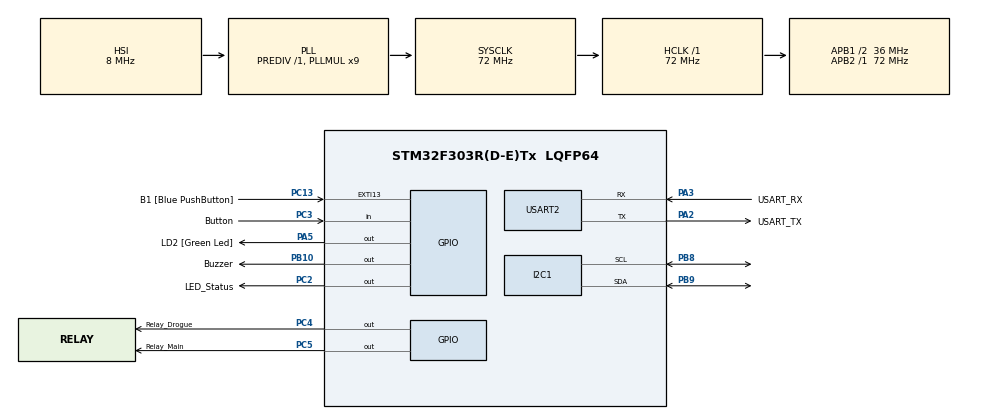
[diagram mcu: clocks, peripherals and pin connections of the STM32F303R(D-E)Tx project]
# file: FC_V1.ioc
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FREERTOS.Mutexes01=altitudeMutex,Static,altitudeMutexControlBlock
FREERTOS.Tasks01=ejectionTask,32,128,startEjection,Default,NULL,Dynamic,NULL,NULL;telemetryTask,24,128,startTelemetry,Default,NULL,Dynamic,NULL,NULL
Mcu.Family=STM32F3
Mcu.Name=STM32F303R(D-E)Tx
Mcu.Package=LQFP64
NVIC.PriorityGroup=NVIC_PRIORITYGROUP_4
NVIC.TIM6_DAC_IRQn=true\:0\:0\:false\:false\:true\:false\:false\:true
NVIC.TimeBase=TIM6_DAC_IRQn
NVIC.TimeBaseIP=TIM6
PA13.GPIO_Label=TMS
PA13.Mode=Serial_Wire
PA13.Signal=SYS_JTMS-SWDIO
PA14.GPIO_Label=TCK
PA14.Mode=Serial_Wire
PA14.Signal=SYS_JTCK-SWCLK
PA2.GPIO_Label=USART_TX
PA2.GPIO_Mode=GPIO_MODE_AF_PP
PA2.GPIO_PuPd=GPIO_NOPULL
PA2.GPIO_Speed=GPIO_SPEED_FREQ_LOW
PA2.Mode=Asynchronous
PA2.Signal=USART2_TX
PA3.GPIO_Label=USART_RX
PA3.GPIO_Mode=GPIO_MODE_AF_PP
PA3.GPIO_PuPd=GPIO_NOPULL
PA3.GPIO_Speed=GPIO_SPEED_FREQ_LOW
PA3.Mode=Asynchronous
PA3.Signal=USART2_RX
PA5.GPIO_Label=LD2 [Green Led]
PA5.GPIO_Mode=GPIO_MODE_OUTPUT_PP
PA5.GPIO_PuPd=GPIO_NOPULL
PA5.GPIO_Speed=GPIO_SPEED_FREQ_LOW
PA5.Signal=GPIO_Output
PB10.GPIO_Label=Buzzer
PB10.Signal=GPIO_Output
PB3.GPIO_Label=SWO
PB3.Signal=SYS_JTDO-TRACESWO
PB8.Mode=I2C
PB8.Signal=I2C1_SCL
PB9.Mode=I2C
PB9.Signal=I2C1_SDA
PC13.GPIO_Label=B1 [Blue PushButton]
PC13.GPIO_ModeDefaultEXTI=GPIO_MODE_IT_FALLING
PC13.Signal=GPXTI13
PC14-OSC32_IN.Mode=LSE-External-Oscillator
PC14-OSC32_IN.Signal=RCC_OSC32_IN
PC15-OSC32_OUT.Mode=LSE-External-Oscillator
PC15-OSC32_OUT.Signal=RCC_OSC32_OUT
PC2.GPIO_Label=LED_Status
PC2.Signal=GPIO_Output
PC3.GPIO_Label=Button
PC3.Signal=GPIO_Input
PC4.GPIO_Label=Relay_Drogue
PC4.Signal=GPIO_Output
PC5.GPIO_Label=Relay_Main
PC5.Signal=GPIO_Output
PF0-OSC_IN.Mode=HSE-External-Clock-Source
PF0-OSC_IN.Signal=RCC_OSC_IN
PF1-OSC_OUT.Signal=RCC_OSC_OUT
ProjectManager.HeapSize=0x200
ProjectManager.StackSize=0x400
ProjectManager.TargetToolchain=STM32CubeIDE
RCC.AHBFreq_Value=72000000
RCC.APB1CLKDivider=RCC_HCLK_DIV2
RCC.APB1Freq_Value=36000000
RCC.APB1TimFreq_Value=72000000
RCC.APB2Freq_Value=72000000
RCC.APB2TimFreq_Value=72000000
RCC.CortexFreq_Value=72000000
RCC.HCLKFreq_Value=72000000
RCC.HSE_VALUE=8000000
RCC.HSI_VALUE=8000000
RCC.PLLM=8
RCC.PLLMUL=RCC_PLL_MUL9
RCC.PLLN=336
RCC.PLLP=RCC_PLLP_DIV4
RCC.PLLQ=7
RCC.RCC_PLLsource_Clock_Source_FROM_HSE=RCC_HSE_PREDIV_DIV2
RCC.SYSCLKFreq_VALUE=72000000
RCC.SYSCLKSourceVirtual=RCC_SYSCLKSOURCE_PLLCLK
RCC.USBFreq_Value=72000000
USART2.VirtualMode-Asynchronous=VM_ASYNC
VP_FREERTOS_VS_CMSIS_V2.Mode=CMSIS_V2
VP_RTC_VS_RTC_Activate.Mode=RTC_Enabled
VP_SYS_VS_tim6.Mode=TIM6
board=NUCLEO-F303RE

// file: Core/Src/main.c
/* USER CODE BEGIN Header */
/**
 ******************************************************************************
 * @file           : main.c
 * @brief          : Main program body
 ******************************************************************************
 * @attention
 *
 * <h2><center>&copy; Copyright (c) 2021 STMicroelectronics.
 * All rights reserved.</center></h2>
 *
 * This software component is licensed by ST under Ultimate Liberty license
 * SLA0044, the "License"; You may not use this file except in compliance with
 * the License. You may obtain a copy of the License at:
 *                             www.st.com/SLA0044
 *
 ******************************************************************************
 */
/* USER CODE END Header */
#include "main.h"
#include "cmsis_os.h"

/* USER CODE BEGIN Includes */
#include "FreeRTOS.h"
#include "queue.h"
#include <stdio.h>
#include <string.h>
#include "lsm6dsr_reg.h"
#include "lps22hh_reg.h"
#include "ejection.h"
/* USER CODE END Includes */

typedef StaticSemaphore_t osStaticMutexDef_t;

/* USER CODE BEGIN PD */

// ---------- COMMENT THESE OUT AS NEEDED ---------- //
#define		DEBUG_MODE
//#define		TRANSMIT_RADIO
// ------------------------------------------------- //

/* USER CODE END PD */

I2C_HandleTypeDef hi2c1;

RTC_HandleTypeDef hrtc;

UART_HandleTypeDef huart2;

/* Definitions for ejectionTask */
osThreadId_t ejectionTaskHandle;
const osThreadAttr_t ejectionTask_attributes = {
  .name = "ejectionTask",
  .priority = (osPriority_t) osPriorityAboveNormal,
  .stack_size = 128 * 4
};
/* Definitions for telemetryTask */
osThreadId_t telemetryTaskHandle;
const osThreadAttr_t telemetryTask_attributes = {
  .name = "telemetryTask",
  .priority = (osPriority_t) osPriorityNormal,
  .stack_size = 128 * 4
};
/* Definitions for altitudeMutex */
osMutexId_t altitudeMutexHandle;
osStaticMutexDef_t altitudeMutexControlBlock;
const osMutexAttr_t altitudeMutex_attributes = {
  .name = "altitudeMutex",
  .cb_mem = &altitudeMutexControlBlock,
  .cb_size = sizeof(altitudeMutexControlBlock),
};
/* USER CODE BEGIN PV */
static uint8_t tx_buffer[TX_BUF_DIM];

// Ejection Variables
float alt_meas;
float alt_ground = 0;
//float a = 1;					// Hz (Cutoff frequency of low-pass filter)
//float alt_filtered;
float t_previous_loop, t_previous_buzz;
float average_gradient;

uint8_t apogee_reached = 0;
uint8_t launched = 0;
uint8_t main_deployed = 0;

long time11;
long time12;
long time21;
long time22;

// Telemetry Variables
//float real_altitude;
//uint8_t relay_check_drogue1;
//uint8_t relay_check_drogue2;
//uint8_t relay_check_main1;
//uint8_t relay_check_main2;
stmdev_ctx_t dev_ctx_lsm;
stmdev_ctx_t dev_ctx_lps;

// Variables to store converted sensor data
float acceleration[] = {0, 0, 0};
float angular_rate[]= {0, 0, 0};
float pressure = 0;
float temperature = 0;

// Global altitude variable (protected by mutex)
uint16_t altitude = 0;

// RTC date and time structures
RTC_DateTypeDef sdatestructureget;
RTC_TimeTypeDef stimestructureget;

/* USER CODE END PV */

void SystemClock_Config(void);
static void MX_GPIO_Init(void);
static void MX_USART2_UART_Init(void);
static void MX_I2C1_Init(void);
static void MX_RTC_Init(void);
void startEjection(void *argument);
void startTelemetry(void *argument);

/* USER CODE BEGIN 0 */

// LSM6DSR functions
extern stmdev_ctx_t lsm6dsr_init(void);
extern void get_acceleration(stmdev_ctx_t dev_ctx, float *acceleration_mg);
extern void get_angvelocity(stmdev_ctx_t dev_ctx, float *angular_rate_mdps);

// LPS22HH functions
extern stmdev_ctx_t lps22hh_init(void);
extern void get_pressure(stmdev_ctx_t dev_ctx,  float *pressure);
extern void get_temperature(stmdev_ctx_t dev_ctx,  float *temperature);
/* USER CODE END 0 */

int main(void)
{

  /* MCU Configuration--------------------------------------------------------*/

  /* Reset of all peripherals, Initializes the Flash interface and the Systick. */
  HAL_Init();

  /* Configure the system clock */
  SystemClock_Config();

  /* Initialize all configured peripherals */
  MX_GPIO_Init();
  MX_USART2_UART_Init();
  MX_I2C1_Init();
  MX_RTC_Init();
  /* USER CODE BEGIN 2 */
	// Reset GPIOs
	HAL_GPIO_WritePin(LED_Status_GPIO_Port, LED_Status_Pin, GPIO_PIN_RESET);
	HAL_GPIO_WritePin(Relay_Drogue_GPIO_Port, Relay_Drogue_Pin, GPIO_PIN_RESET);
	HAL_GPIO_WritePin(Relay_Main_GPIO_Port, Relay_Main_Pin, GPIO_PIN_RESET);

	// Initialize sensors
	// TODO: Add check mechanism (eg. if dev_ctx_lps return an error, sound the buzzer and light LED. Else, do smth)
	// dev_ctx_lsm = lsm6dsr_init();
	dev_ctx_lps = lps22hh_init();

  /* USER CODE END 2 */

  /* Init scheduler */
  osKernelInitialize();
  /* Create the mutex(es) */
  /* creation of altitudeMutex */
  altitudeMutexHandle = osMutexNew(&altitudeMutex_attributes);

  /* Create the thread(s) */
  /* creation of ejectionTask */
  ejectionTaskHandle = osThreadNew(startEjection, NULL, &ejectionTask_attributes);

  /* creation of telemetryTask */
  telemetryTaskHandle = osThreadNew(startTelemetry, NULL, &telemetryTask_attributes);

  /* Start scheduler */
  osKernelStart();

  /* We should never get here as control is now taken by the scheduler */
  /* Infinite loop */
	while (1) {

	}
}

void SystemClock_Config(void)
{
  RCC_OscInitTypeDef RCC_OscInitStruct = {0};
  RCC_ClkInitTypeDef RCC_ClkInitStruct = {0};
  RCC_PeriphCLKInitTypeDef PeriphClkInit = {0};

  /** Initializes the RCC Oscillators according to the specified parameters
  * in the RCC_OscInitTypeDef structure.
  */
  RCC_OscInitStruct.OscillatorType = RCC_OSCILLATORTYPE_HSI|RCC_OSCILLATORTYPE_LSI;
  RCC_OscInitStruct.HSIState = RCC_HSI_ON;
  RCC_OscInitStruct.HSICalibrationValue = RCC_HSICALIBRATION_DEFAULT;
  RCC_OscInitStruct.LSIState = RCC_LSI_ON;
  RCC_OscInitStruct.PLL.PLLState = RCC_PLL_ON;
  RCC_OscInitStruct.PLL.PLLSource = RCC_PLLSOURCE_HSI;
  RCC_OscInitStruct.PLL.PLLMUL = RCC_PLL_MUL9;
  RCC_OscInitStruct.PLL.PREDIV = RCC_PREDIV_DIV1;
  if (HAL_RCC_OscConfig(&RCC_OscInitStruct) != HAL_OK)
  {
    Error_Handler();
  }
  /** Initializes the CPU, AHB and APB buses clocks
  */
  RCC_ClkInitStruct.ClockType = RCC_CLOCKTYPE_HCLK|RCC_CLOCKTYPE_SYSCLK
                              |RCC_CLOCKTYPE_PCLK1|RCC_CLOCKTYPE_PCLK2;
  RCC_ClkInitStruct.SYSCLKSource = RCC_SYSCLKSOURCE_PLLCLK;
  RCC_ClkInitStruct.AHBCLKDivider = RCC_SYSCLK_DIV1;
  RCC_ClkInitStruct.APB1CLKDivider = RCC_HCLK_DIV2;
  RCC_ClkInitStruct.APB2CLKDivider = RCC_HCLK_DIV1;

  if (HAL_RCC_ClockConfig(&RCC_ClkInitStruct, FLASH_LATENCY_2) != HAL_OK)
  {
    Error_Handler();
  }
  PeriphClkInit.PeriphClockSelection = RCC_PERIPHCLK_USART2|RCC_PERIPHCLK_I2C1
                              |RCC_PERIPHCLK_RTC;
  PeriphClkInit.Usart2ClockSelection = RCC_USART2CLKSOURCE_PCLK1;
  PeriphClkInit.I2c1ClockSelection = RCC_I2C1CLKSOURCE_HSI;
  PeriphClkInit.RTCClockSelection = RCC_RTCCLKSOURCE_LSI;
  if (HAL_RCCEx_PeriphCLKConfig(&PeriphClkInit) != HAL_OK)
  {
    Error_Handler();
  }
}

static void MX_I2C1_Init(void)
{

  hi2c1.Instance = I2C1;
  hi2c1.Init.Timing = 0x2000090E;
  hi2c1.Init.OwnAddress1 = 0;
  hi2c1.Init.AddressingMode = I2C_ADDRESSINGMODE_7BIT;
  hi2c1.Init.DualAddressMode = I2C_DUALADDRESS_DISABLE;
  hi2c1.Init.OwnAddress2 = 0;
  hi2c1.Init.OwnAddress2Masks = I2C_OA2_NOMASK;
  hi2c1.Init.GeneralCallMode = I2C_GENERALCALL_DISABLE;
  hi2c1.Init.NoStretchMode = I2C_NOSTRETCH_DISABLE;
  if (HAL_I2C_Init(&hi2c1) != HAL_OK)
  {
    Error_Handler();
  }
  /** Configure Analogue filter
  */
  if (HAL_I2CEx_ConfigAnalogFilter(&hi2c1, I2C_ANALOGFILTER_ENABLE) != HAL_OK)
  {
    Error_Handler();
  }
  /** Configure Digital filter
  */
  if (HAL_I2CEx_ConfigDigitalFilter(&hi2c1, 0) != HAL_OK)
  {
    Error_Handler();
  }

}

static void MX_RTC_Init(void)
{

  /** Initialize RTC Only
  */
  hrtc.Instance = RTC;
  hrtc.Init.HourFormat = RTC_HOURFORMAT_24;
  hrtc.Init.AsynchPrediv = 127;
  hrtc.Init.SynchPrediv = 255;
  hrtc.Init.OutPut = RTC_OUTPUT_DISABLE;
  hrtc.Init.OutPutPolarity = RTC_OUTPUT_POLARITY_HIGH;
  hrtc.Init.OutPutType = RTC_OUTPUT_TYPE_OPENDRAIN;
  if (HAL_RTC_Init(&hrtc) != HAL_OK)
  {
    Error_Handler();
  }

}

static void MX_USART2_UART_Init(void)
{

  huart2.Instance = USART2;
  huart2.Init.BaudRate = 38400;
  huart2.Init.WordLength = UART_WORDLENGTH_8B;
  huart2.Init.StopBits = UART_STOPBITS_1;
  huart2.Init.Parity = UART_PARITY_NONE;
  huart2.Init.Mode = UART_MODE_TX_RX;
  huart2.Init.HwFlowCtl = UART_HWCONTROL_NONE;
  huart2.Init.OverSampling = UART_OVERSAMPLING_16;
  huart2.Init.OneBitSampling = UART_ONE_BIT_SAMPLE_DISABLE;
  huart2.AdvancedInit.AdvFeatureInit = UART_ADVFEATURE_NO_INIT;
  if (HAL_UART_Init(&huart2) != HAL_OK)
  {
    Error_Handler();
  }

}

static void MX_GPIO_Init(void)
{
  GPIO_InitTypeDef GPIO_InitStruct = {0};

  /* GPIO Ports Clock Enable */
  __HAL_RCC_GPIOC_CLK_ENABLE();
  __HAL_RCC_GPIOF_CLK_ENABLE();
  __HAL_RCC_GPIOA_CLK_ENABLE();
  __HAL_RCC_GPIOB_CLK_ENABLE();

  /*Configure GPIO pin Output Level */
  HAL_GPIO_WritePin(GPIOC, LED_Status_Pin|Relay_Drogue_Pin|Relay_Main_Pin, GPIO_PIN_RESET);

  /*Configure GPIO pin Output Level */
  HAL_GPIO_WritePin(LD2_GPIO_Port, LD2_Pin, GPIO_PIN_RESET);

  /*Configure GPIO pin Output Level */
  HAL_GPIO_WritePin(Buzzer_GPIO_Port, Buzzer_Pin, GPIO_PIN_RESET);

  /*Configure GPIO pin : B1_Pin */
  GPIO_InitStruct.Pin = B1_Pin;
  GPIO_InitStruct.Mode = GPIO_MODE_IT_FALLING;
  GPIO_InitStruct.Pull = GPIO_NOPULL;
  HAL_GPIO_Init(B1_GPIO_Port, &GPIO_InitStruct);

  /*Configure GPIO pins : LED_Status_Pin Relay_Drogue_Pin Relay_Main_Pin */
  GPIO_InitStruct.Pin = LED_Status_Pin|Relay_Drogue_Pin|Relay_Main_Pin;
  GPIO_InitStruct.Mode = GPIO_MODE_OUTPUT_PP;
  GPIO_InitStruct.Pull = GPIO_NOPULL;
  GPIO_InitStruct.Speed = GPIO_SPEED_FREQ_LOW;
  HAL_GPIO_Init(GPIOC, &GPIO_InitStruct);

  /*Configure GPIO pin : Button_Pin */
  GPIO_InitStruct.Pin = Button_Pin;
  GPIO_InitStruct.Mode = GPIO_MODE_INPUT;
  GPIO_InitStruct.Pull = GPIO_NOPULL;
  HAL_GPIO_Init(Button_GPIO_Port, &GPIO_InitStruct);

  /*Configure GPIO pin : LD2_Pin */
  GPIO_InitStruct.Pin = LD2_Pin;
  GPIO_InitStruct.Mode = GPIO_MODE_OUTPUT_PP;
  GPIO_InitStruct.Pull = GPIO_NOPULL;
  GPIO_InitStruct.Speed = GPIO_SPEED_FREQ_LOW;
  HAL_GPIO_Init(LD2_GPIO_Port, &GPIO_InitStruct);

  /*Configure GPIO pin : Buzzer_Pin */
  GPIO_InitStruct.Pin = Buzzer_Pin;
  GPIO_InitStruct.Mode = GPIO_MODE_OUTPUT_PP;
  GPIO_InitStruct.Pull = GPIO_NOPULL;
  GPIO_InitStruct.Speed = GPIO_SPEED_FREQ_LOW;
  HAL_GPIO_Init(Buzzer_GPIO_Port, &GPIO_InitStruct);

}

void startEjection(void *argument)
{
  /* USER CODE BEGIN 5 */
	osDelay(1000);
	uint16_t real_altitude = 0;
	uint32_t currTick;
	float alt_filtered = 0;
	char msg[1000];

#ifndef DEBUG_MODE
	// ---------- Get ground-level pressure and set as bias ----------
	for (uint16_t i = 0; i < ALT_MEAS_AVGING; i++){
		osMessageQueueGet(myQueue01Handle, &real_altitude, NULL, 0);
		alt_ground += real_altitude;
	}
	alt_ground = alt_ground/ALT_MEAS_AVGING; 			// Average of altitude readings

	// ---------- Waiting for launch ----------
	// TODO: Replace 150 by the actual value
	while(alt_filtered < 150){							// Waiting to launch
		currTick = xTaskGetTickCount();
		alt_filtered = runAltitudeMeasurements(currTick, real_altitude);
//      (print for test)
//		char msg[1000];
//	    sprintf(msg, "Filtered Alt =  %hu\n", alt_filtered);
//	    HAL_UART_Transmit(&huart2, (uint8_t*) msg, strlen(msg), HAL_MAX_DELAY);
	    osDelay(50);
	}

	// ---------- Launched -> Wait for apogee ----------
	while (getAverageVelocity() > -DROGUE_DEPLOYMENT_VEL || alt_filtered < THRESHOLD_ALTITUDE) // while moving up and hasn't reached threshold altitude yet
	{
		currTick = xTaskGetTickCount();
		alt_filtered = runAltitudeMeasurements(currTick, real_altitude);
		osDelay(5);
	}

	// ---------- At apogee -> Deploy drogue ----------
	// TODO: Modify code to actually deploy both relays
	HAL_GPIO_WritePin(Relay_Drogue_GPIO_Port, Relay_Drogue_Pin, GPIO_PIN_SET);
	osDelay(DROGUE_DELAY);
	HAL_GPIO_WritePin(Relay_Drogue_GPIO_Port, Relay_Drogue_Pin, GPIO_PIN_RESET);

	// ---------- Wait for main deployment altitude ----------
	while (alt_filtered > MAIN_DEPLOYMENT){
		currTick = xTaskGetTickCount();
		alt_filtered = runAltitudeMeasurements(currTick, real_altitude);
		osDelay(5);
	}

	// ---------- At main deployment altitude -> Deploy main ----------
	// TODO: Modify code to actually deploy both relays
	HAL_GPIO_WritePin(Relay_Main_GPIO_Port, Relay_Main_Pin, GPIO_PIN_SET);
	osDelay(MAIN_DELAY);
	HAL_GPIO_WritePin(Relay_Main_GPIO_Port, Relay_Main_Pin, GPIO_PIN_RESET);

	// TODO: Test ejection code
	// TODO: terminate thread here

#endif

	/* Infinite loop */
	for(;;)
	{
#ifdef DEBUG_MODE
		// ---------- (Print to serial for debugging) ----------
		osDelay(1000);

		// Acquire and release mutex
		while (osMutexAcquire(altitudeMutexHandle, 0) != osOK){
			osThreadYield();
		}
		real_altitude = (uint16_t)altitude;	// Acquire global variable
		osMutexRelease(altitudeMutexHandle);

		sprintf(msg, "Get:  %hu\n", real_altitude);
		HAL_UART_Transmit(&huart2, (uint8_t*) msg, strlen(msg), HAL_MAX_DELAY);
#endif
	}

  /* USER CODE END 5 */
}

void startTelemetry(void *argument)
{
  /* USER CODE BEGIN startTelemetry */
	uint16_t real_altitude = 0;
	char msg[1000];

	/* Infinite loop */

	for (;;) {

		osDelay(500);

		// ---------- Get sensor data ----------
//		get_acceleration(dev_ctx_lsm, acceleration);
//		get_angvelocity(dev_ctx_lsm, angular_rate);
		get_pressure(dev_ctx_lps, &pressure);
		get_temperature(dev_ctx_lps,  &temperature);
		real_altitude = 145442.1609 * (1.0 - pow(pressure/LOCAL_PRESSURE, 0.190266436));

		// ---------- Get RTC data ----------
		HAL_RTC_GetTime(&hrtc, &stimestructureget, RTC_FORMAT_BIN);
		HAL_RTC_GetDate(&hrtc, &sdatestructureget, RTC_FORMAT_BIN);

		// ---------- Transmit data via radio ----------
#ifdef TRANSMIT_RADIO
		// TODO: Replace this with actual variables
		//	sprintf((char *)tx_buffer,"Temp:%d,Pressure:d,Altitude(BMP,m):%d,Pitch:%d,Roll:%d,Yaw:%d,Latitude:%d,Longitude:%d,Altitude(GPS,m):%d",
		//					temp, pressure,pitch, roll, yaw, latitude, longitude, gpsAltitude);

		sprintf((char *)tx_buffer, "Temperature:%d\tPressure:%d\n", temperature, pressure);
		HAL_UART_Transmit(&huart1, tx_buffer, TX_BUF_DIM, TX_BUF_DIM);
#endif

		// ---------- Put pressure data in global variable ----------

		// Acquire and release mutex
		while (osMutexAcquire(altitudeMutexHandle, 0) != osOK)
			osThreadYield();
		altitude = real_altitude;	// Set global variable
		osMutexRelease(altitudeMutexHandle);

		// ---------- (Print to serial for debugging) ----------
#ifdef DEBUG_MODE

		sprintf(msg, "%hu: %hu\n", stimestructureget.Seconds, real_altitude);
		HAL_UART_Transmit(&huart2, (uint8_t*) msg, strlen(msg), HAL_MAX_DELAY);
#endif
	}

  /* USER CODE END startTelemetry */
}

void HAL_TIM_PeriodElapsedCallback(TIM_HandleTypeDef *htim)
{
  if (htim->Instance == TIM6) {
    HAL_IncTick();
  }
}

void Error_Handler(void)
{
  /* USER CODE BEGIN Error_Handler_Debug */
	/* User can add his own implementation to report the HAL error return state */

	HAL_GPIO_WritePin(LED_Status_GPIO_Port, LED_Status_Pin, GPIO_PIN_SET);
	__BKPT();

  /* USER CODE END Error_Handler_Debug */
}

/************************ (C) COPYRIGHT STMicroelectronics *****END OF FILE****/
